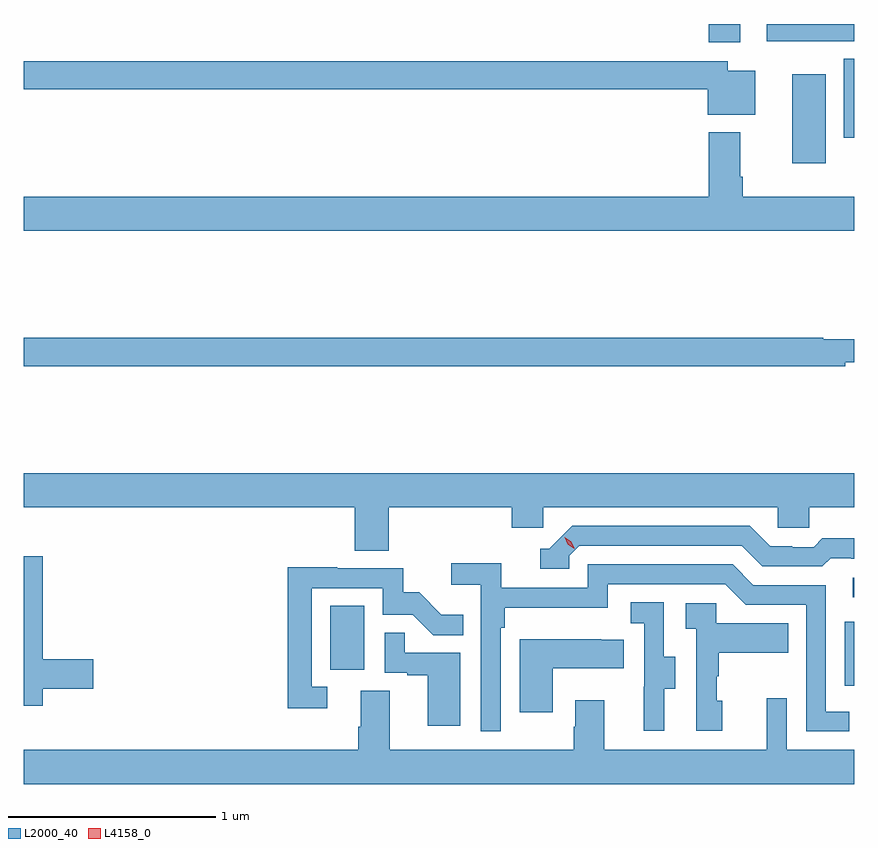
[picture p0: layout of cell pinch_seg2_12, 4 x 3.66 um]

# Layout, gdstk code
import gdstk
lib = gdstk.Library(unit=1e-6, precision=1e-09)
def R(c, l, rs):  # rectangles x0, y0, x1, y1
    for r in rs: c.add(gdstk.rectangle(r[:2], r[2:], *l))
def P(c, l, *ps):  # polygons
    for p in ps: c.add(gdstk.Polygon(p, *l))
L2000_40 = (2000, 40)
L4158_0 = (4158, 0)

pinch_seg2_12 = lib.new_cell('pinch_seg2_12')
R(pinch_seg2_12, L2000_40, [(1099.974,660.096,1100.021,660.406), (1097.498,660.174,1097.662,660.481), (1100.013,660.522,1100.021,660.618), (1099.721,662.613,1099.882,663.04), (1099.97,662.736,1100.021,663.116), (1099.319,663.195,1099.471,663.283)])
P(pinch_seg2_12, L2000_40, [(1099.874,663.201),(1100.021,663.201),(1100.021,663.283),(1099.599,663.283),(1099.599,663.2),(1099.874,663.2)],
  [(1099.543,663.058),(1099.41,663.058),(1099.41,663.104),(1096.021,663.104),(1096.021,662.968),(1099.316,662.968),(1099.316,662.846),(1099.543,662.846)],
  [(1100.021,662.452),(1099.484,662.452),(1099.484,662.548),(1099.471,662.548),(1099.471,662.761),(1099.319,662.761),(1099.319,662.452),(1096.021,662.452),(1096.021,662.288),(1100.021,662.288)],
  [(1099.976,661.655),(1100.021,661.655),(1100.021,661.765),(1099.87,661.765),(1099.87,661.772),(1096.021,661.772),(1096.021,661.636),(1099.976,661.636)],
  [(1097.78,660.956),(1098.371,660.956),(1098.371,660.858),(1098.522,660.858),(1098.522,660.956),(1099.653,660.956),(1099.653,660.858),(1099.803,660.858),(1099.803,660.956),(1100.021,660.956),(1100.021,661.12),(1096.021,661.12),(1096.021,660.956),(1097.615,660.956),(1097.615,660.748),(1097.78,660.748)],
  [(1098.648,660.723),(1098.696,660.771),(1099.479,660.771),(1099.578,660.672),(1099.867,660.672),(1099.906,660.711),(1100.005,660.711),(1100.005,660.708),(1100.021,660.708),(1100.021,660.808),(1099.867,660.808),(1099.825,660.765),(1099.722,660.765),(1099.722,660.768),(1099.615,660.768),(1099.516,660.867),(1098.663,660.867),(1098.552,660.756),(1098.509,660.756),(1098.509,660.66),(1098.648,660.66)],
  [(1096.114,660.082),(1096.357,660.082),(1096.357,660.224),(1096.114,660.224),(1096.114,660.721),(1096.021,660.721),(1096.021,660),(1096.114,660)],
  [(1098.318,660.377),(1098.338,660.377),(1098.338,660.473),(1098.834,660.473),(1098.834,660.585),(1099.398,660.585),(1099.497,660.486),(1099.788,660.486),(1099.788,659.877),(1099.997,659.877),(1099.997,659.973),(1099.884,659.973),(1099.884,660.582),(1099.534,660.582),(1099.435,660.681),(1098.738,660.681),(1098.738,660.57),(1098.32,660.57),(1098.32,660.686),(1098.081,660.686),(1098.081,660.584),(1098.222,660.584),(1098.222,659.877),(1098.318,659.877)],
  [(1097.482,660.093),(1097.409,660.093),(1097.409,660.567),(1097.751,660.567),(1097.751,660.438),(1097.895,660.438),(1097.993,660.34),(1098.137,660.34),(1098.137,660.439),(1098.033,660.439),(1097.926,660.546),(1097.85,660.546),(1097.85,660.663),(1097.531,660.663),(1097.531,660.668),(1097.293,660.668),(1097.293,659.988),(1097.482,659.988)],
  [(1099.105,660.082),(1099.159,660.082),(1099.159,660.237),(1099.104,660.237),(1099.104,660.5),(1098.945,660.5),(1098.945,660.397),(1099.008,660.397),(1099.008,660.093),(1099.007,660.093),(1099.007,659.88),(1099.105,659.88)],
  [(1099.384,660.024),(1099.359,660.024),(1099.359,660.143),(1099.369,660.143),(1099.369,660.257),(1099.703,660.257),(1099.703,660.397),(1099.356,660.397),(1099.356,660.495),(1099.209,660.495),(1099.209,660.371),(1099.26,660.371),(1099.26,659.88),(1099.384,659.88)],
  [(1098.124,660.255),(1097.855,660.255),(1097.855,660.353),(1097.76,660.353),(1097.76,660.159),(1097.867,660.159),(1097.867,660.147),(1097.966,660.147),(1097.966,659.904),(1098.124,659.904)],
  [(1098.568,660.182),(1098.911,660.182),(1098.911,660.319),(1098.803,660.319),(1098.803,660.322),(1098.41,660.322),(1098.41,659.97),(1098.568,659.97)],
  [(1100.021,659.788),(1099.695,659.788),(1099.695,660.037),(1099.598,660.037),(1099.598,659.788),(1098.817,659.788),(1098.817,660.028),(1098.677,660.028),(1098.677,659.9),(1098.67,659.9),(1098.67,659.788),(1097.785,659.788),(1097.785,660.074),(1097.645,660.074),(1097.645,659.9),(1097.633,659.9),(1097.633,659.788),(1096.021,659.788),(1096.021,659.624),(1100.021,659.624)])
P(pinch_seg2_12, L4158_0, [(1098.672,660.757),(1098.642,660.778),(1098.627,660.811),(1098.627,660.811),(1098.627,660.811),(1098.657,660.79),(1098.672,660.758),(1098.672,660.757)])

lib.write_gds('pinch_seg2_12.gds')
